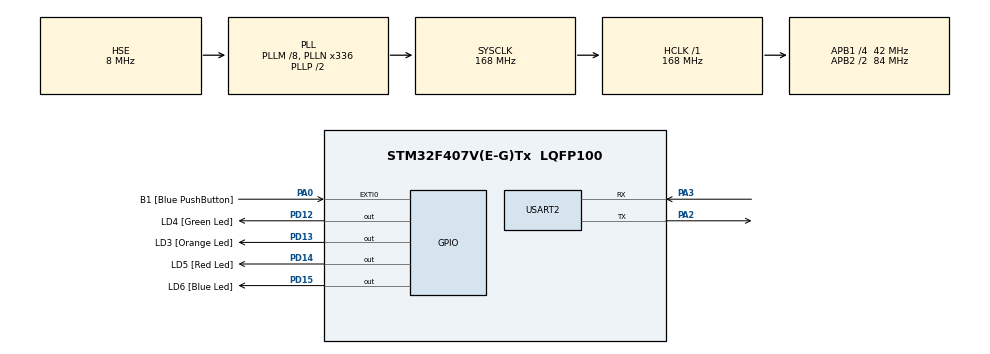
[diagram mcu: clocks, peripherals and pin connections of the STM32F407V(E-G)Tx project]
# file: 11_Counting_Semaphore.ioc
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FREERTOS.Tasks01=defaultTask,24,128,StartDefaultTask,Default,NULL,Dynamic,NULL,NULL
FREERTOS.configCHECK_FOR_STACK_OVERFLOW=2
FREERTOS.configTOTAL_HEAP_SIZE=32768
FREERTOS.configUSE_IDLE_HOOK=0
FREERTOS.configUSE_MALLOC_FAILED_HOOK=1
FREERTOS.configUSE_TICK_HOOK=0
FREERTOS.configUSE_TRACE_FACILITY=1
Mcu.Family=STM32F4
Mcu.Name=STM32F407V(E-G)Tx
Mcu.Package=LQFP100
NVIC.EXTI0_IRQn=true\:5\:0\:false\:false\:true\:true\:true\:true\:true
NVIC.PriorityGroup=NVIC_PRIORITYGROUP_4
NVIC.TIM6_DAC_IRQn=true\:15\:0\:false\:false\:true\:false\:false\:true\:true
NVIC.TimeBase=TIM6_DAC_IRQn
NVIC.TimeBaseIP=TIM6
PA0-WKUP.GPIO_Label=B1 [Blue PushButton]
PA0-WKUP.GPIO_ModeDefaultEXTI=GPIO_MODE_IT_RISING
PA0-WKUP.GPIO_PuPd=GPIO_NOPULL
PA0-WKUP.Signal=GPXTI0
PA13.GPIO_Label=SWDIO
PA13.Mode=Serial_Wire
PA13.Signal=SYS_JTMS-SWDIO
PA14.GPIO_Label=SWCLK
PA14.Mode=Serial_Wire
PA14.Signal=SYS_JTCK-SWCLK
PA2.Mode=Asynchronous
PA2.Signal=USART2_TX
PA3.Mode=Asynchronous
PA3.Signal=USART2_RX
PB3.GPIO_Label=SWO
PB3.Signal=SYS_JTDO-SWO
PC14-OSC32_IN.GPIO_Label=PC14-OSC32_IN
PC14-OSC32_IN.Mode=LSE-External-Oscillator
PC14-OSC32_IN.Signal=RCC_OSC32_IN
PC15-OSC32_OUT.GPIO_Label=PC15-OSC32_OUT
PC15-OSC32_OUT.Mode=LSE-External-Oscillator
PC15-OSC32_OUT.Signal=RCC_OSC32_OUT
PD12.GPIO_Label=LD4 [Green Led]
PD12.GPIO_PuPd=GPIO_NOPULL
PD12.GPIO_Speed=GPIO_SPEED_FREQ_LOW
PD12.Signal=GPIO_Output
PD13.GPIO_Label=LD3 [Orange Led]
PD13.GPIO_PuPd=GPIO_NOPULL
PD13.GPIO_Speed=GPIO_SPEED_FREQ_LOW
PD13.Signal=GPIO_Output
PD14.GPIO_Label=LD5 [Red Led]
PD14.GPIO_PuPd=GPIO_NOPULL
PD14.GPIO_Speed=GPIO_SPEED_FREQ_LOW
PD14.Signal=GPIO_Output
PD15.GPIO_Label=LD6 [Blue Led]
PD15.GPIO_PuPd=GPIO_NOPULL
PD15.GPIO_Speed=GPIO_SPEED_FREQ_LOW
PD15.Signal=GPIO_Output
PH0-OSC_IN.GPIO_Label=PH0-OSC_IN
PH0-OSC_IN.Mode=HSE-External-Oscillator
PH0-OSC_IN.Signal=RCC_OSC_IN
PH1-OSC_OUT.GPIO_Label=PH1-OSC_OUT
PH1-OSC_OUT.Mode=HSE-External-Oscillator
PH1-OSC_OUT.Signal=RCC_OSC_OUT
ProjectManager.HeapSize=0x200
ProjectManager.StackSize=0x400
ProjectManager.TargetToolchain=STM32CubeIDE
RCC.48MHZClocksFreq_Value=48000000
RCC.AHBFreq_Value=168000000
RCC.APB1CLKDivider=RCC_HCLK_DIV4
RCC.APB1Freq_Value=42000000
RCC.APB1TimFreq_Value=84000000
RCC.APB2CLKDivider=RCC_HCLK_DIV2
RCC.APB2Freq_Value=84000000
RCC.APB2TimFreq_Value=168000000
RCC.CortexFreq_Value=168000000
RCC.HCLKFreq_Value=168000000
RCC.HSE_VALUE=8000000
RCC.HSI_VALUE=16000000
RCC.PLLM=8
RCC.PLLN=336
RCC.PLLQ=7
RCC.PLLSourceVirtual=RCC_PLLSOURCE_HSE
RCC.SYSCLKFreq_VALUE=168000000
RCC.SYSCLKSource=RCC_SYSCLKSOURCE_PLLCLK
RCC.VCOOutputFreq_Value=336000000
USART2.VirtualMode=VM_ASYNC
VP_FREERTOS_VS_CMSIS_V2.Mode=CMSIS_V2
VP_SYS_VS_tim6.Mode=TIM6
board=STM32F407G-DISC1

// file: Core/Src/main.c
/* USER CODE BEGIN Header */
/**
  ******************************************************************************
  * @file           : main.c
  * @brief          : Main program body
  ******************************************************************************
  * @attention
  *
  * Copyright (c) 2026 STMicroelectronics.
  * All rights reserved.
  *
  * This software is licensed under terms that can be found in the LICENSE file
  * in the root directory of this software component.
  * If no LICENSE file comes with this software, it is provided AS-IS.
  *
  ******************************************************************************
  */
/* USER CODE END Header */
#include "main.h"

/* USER CODE BEGIN Includes */
#include "FreeRTOS.h"
#include "task.h"
#include "semphr.h"
#include <stdio.h>
/* USER CODE END Includes */

UART_HandleTypeDef huart2;

/* USER CODE BEGIN PV */
SemaphoreHandle_t eventSemaphore;

TaskHandle_t producerTaskHandle;
TaskHandle_t consumerTaskHandle;
/* USER CODE END PV */

void SystemClock_Config(void);
static void MX_GPIO_Init(void);
static void MX_USART2_UART_Init(void);

/* USER CODE BEGIN PFP */
static void ProducerTask(void *argument);
static void ConsumerTask(void *argument);
/* USER CODE END PFP */

int main(void)
{

  /* MCU Configuration--------------------------------------------------------*/

  /* Reset of all peripherals, Initializes the Flash interface and the Systick. */
  HAL_Init();

  /* Configure the system clock */
  SystemClock_Config();

  /* Initialize all configured peripherals */
  MX_GPIO_Init();
  MX_USART2_UART_Init();
  eventSemaphore = xSemaphoreCreateCounting(5, 0);

  if (eventSemaphore == NULL)
  {
      Error_Handler();
  }

  xTaskCreate(ProducerTask, "Producer", 128, NULL, 2, &producerTaskHandle);

  xTaskCreate(ConsumerTask, "Consumer", 128, NULL, 2, &consumerTaskHandle);

  vTaskStartScheduler();

  /* We should never get here as control is now taken by the scheduler */

  /* Infinite loop */
  while (1)
  {

  }
}

void SystemClock_Config(void)
{
  RCC_OscInitTypeDef RCC_OscInitStruct = {0};
  RCC_ClkInitTypeDef RCC_ClkInitStruct = {0};

  /** Configure the main internal regulator output voltage
  */
  __HAL_RCC_PWR_CLK_ENABLE();
  __HAL_PWR_VOLTAGESCALING_CONFIG(PWR_REGULATOR_VOLTAGE_SCALE1);

  /** Initializes the RCC Oscillators according to the specified parameters
  * in the RCC_OscInitTypeDef structure.
  */
  RCC_OscInitStruct.OscillatorType = RCC_OSCILLATORTYPE_HSE;
  RCC_OscInitStruct.HSEState = RCC_HSE_ON;
  RCC_OscInitStruct.PLL.PLLState = RCC_PLL_ON;
  RCC_OscInitStruct.PLL.PLLSource = RCC_PLLSOURCE_HSE;
  RCC_OscInitStruct.PLL.PLLM = 8;
  RCC_OscInitStruct.PLL.PLLN = 336;
  RCC_OscInitStruct.PLL.PLLP = RCC_PLLP_DIV2;
  RCC_OscInitStruct.PLL.PLLQ = 7;
  if (HAL_RCC_OscConfig(&RCC_OscInitStruct) != HAL_OK)
  {
    Error_Handler();
  }

  /** Initializes the CPU, AHB and APB buses clocks
  */
  RCC_ClkInitStruct.ClockType = RCC_CLOCKTYPE_HCLK|RCC_CLOCKTYPE_SYSCLK
                              |RCC_CLOCKTYPE_PCLK1|RCC_CLOCKTYPE_PCLK2;
  RCC_ClkInitStruct.SYSCLKSource = RCC_SYSCLKSOURCE_PLLCLK;
  RCC_ClkInitStruct.AHBCLKDivider = RCC_SYSCLK_DIV1;
  RCC_ClkInitStruct.APB1CLKDivider = RCC_HCLK_DIV4;
  RCC_ClkInitStruct.APB2CLKDivider = RCC_HCLK_DIV2;

  if (HAL_RCC_ClockConfig(&RCC_ClkInitStruct, FLASH_LATENCY_5) != HAL_OK)
  {
    Error_Handler();
  }
}

static void MX_USART2_UART_Init(void)
{

  huart2.Instance = USART2;
  huart2.Init.BaudRate = 115200;
  huart2.Init.WordLength = UART_WORDLENGTH_8B;
  huart2.Init.StopBits = UART_STOPBITS_1;
  huart2.Init.Parity = UART_PARITY_NONE;
  huart2.Init.Mode = UART_MODE_TX_RX;
  huart2.Init.HwFlowCtl = UART_HWCONTROL_NONE;
  huart2.Init.OverSampling = UART_OVERSAMPLING_16;
  if (HAL_UART_Init(&huart2) != HAL_OK)
  {
    Error_Handler();
  }

}

static void MX_GPIO_Init(void)
{
  GPIO_InitTypeDef GPIO_InitStruct = {0};

  /* GPIO Ports Clock Enable */
  __HAL_RCC_GPIOC_CLK_ENABLE();
  __HAL_RCC_GPIOH_CLK_ENABLE();
  __HAL_RCC_GPIOA_CLK_ENABLE();
  __HAL_RCC_GPIOD_CLK_ENABLE();
  __HAL_RCC_GPIOB_CLK_ENABLE();

  /*Configure GPIO pin Output Level */
  HAL_GPIO_WritePin(GPIOD, LD4_Pin|LD3_Pin|LD5_Pin|LD6_Pin, GPIO_PIN_RESET);

  /*Configure GPIO pin : B1_Pin */
  GPIO_InitStruct.Pin = B1_Pin;
  GPIO_InitStruct.Mode = GPIO_MODE_IT_RISING;
  GPIO_InitStruct.Pull = GPIO_NOPULL;
  HAL_GPIO_Init(B1_GPIO_Port, &GPIO_InitStruct);

  /*Configure GPIO pins : LD4_Pin LD3_Pin LD5_Pin LD6_Pin */
  GPIO_InitStruct.Pin = LD4_Pin|LD3_Pin|LD5_Pin|LD6_Pin;
  GPIO_InitStruct.Mode = GPIO_MODE_OUTPUT_PP;
  GPIO_InitStruct.Pull = GPIO_NOPULL;
  GPIO_InitStruct.Speed = GPIO_SPEED_FREQ_LOW;
  HAL_GPIO_Init(GPIOD, &GPIO_InitStruct);

  /* EXTI interrupt init*/
  HAL_NVIC_SetPriority(EXTI0_IRQn, 5, 0);
  HAL_NVIC_EnableIRQ(EXTI0_IRQn);

}

/* USER CODE BEGIN 4 */
static void ProducerTask(void *argument)
{
    for (;;)
    {
        xSemaphoreGive(eventSemaphore);

        vTaskDelay(pdMS_TO_TICKS(100));
    }
}

static void ConsumerTask(void *argument)
{
    char msg[50];
    int len;

    for (;;)
    {
        /* Producer = 10 events/sec, Consumer = 1 event/sec */
        if (xSemaphoreTake(eventSemaphore, portMAX_DELAY) == pdTRUE)
        {
            len = snprintf(msg, sizeof(msg), "Event consumed\r\n");

            HAL_UART_Transmit(&huart2, (uint8_t *)msg, len, HAL_MAX_DELAY);

            vTaskDelay(pdMS_TO_TICKS(1000));
        }
    }
}
/* USER CODE END 4 */

void HAL_TIM_PeriodElapsedCallback(TIM_HandleTypeDef *htim)
{
  if (htim->Instance == TIM6)
  {
    HAL_IncTick();
  }
}

void Error_Handler(void)
{
  __disable_irq();
  while (1)
  {
  }
}
